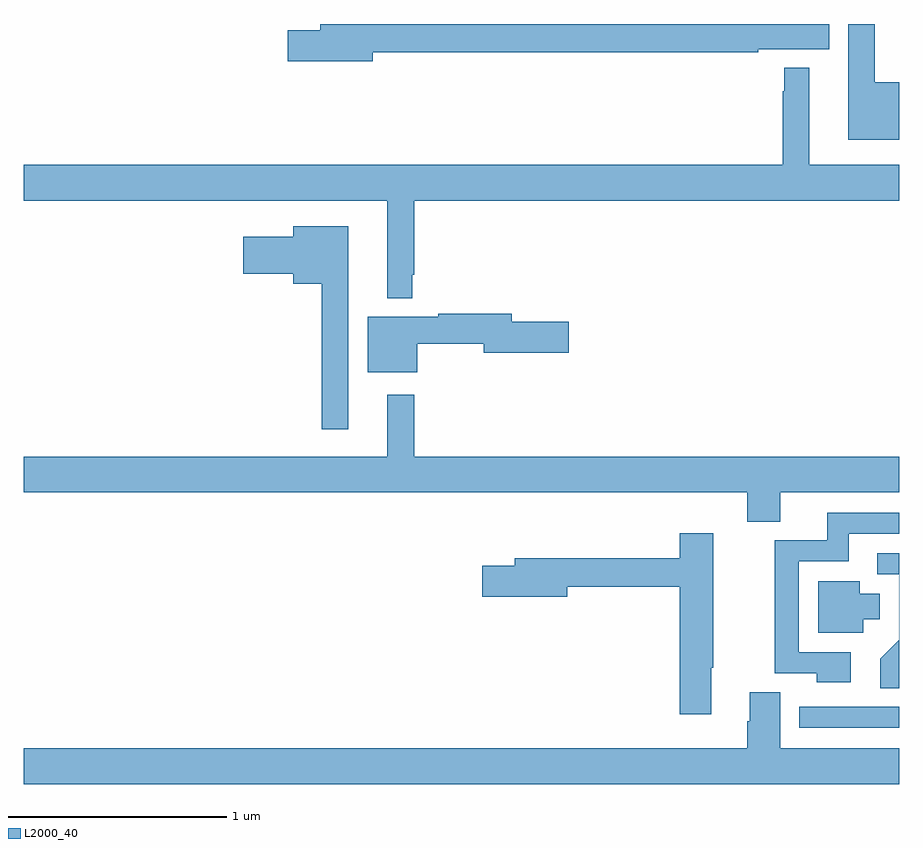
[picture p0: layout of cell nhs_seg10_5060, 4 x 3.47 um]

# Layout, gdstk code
import gdstk
lib = gdstk.Library(unit=1e-6, precision=1e-09)
def R(c, l, rs):  # rectangles x0, y0, x1, y1
    for r in rs: c.add(gdstk.rectangle(r[:2], r[2:], *l))
def P(c, l, *ps):  # polygons
    for p in ps: c.add(gdstk.Polygon(p, *l))
L2000_40 = (2000, 40)

nhs_seg10_5060 = lib.new_cell('nhs_seg10_5060')
R(nhs_seg10_5060, L2000_40, [(408.542,1255.284,409,1255.38)])
P(nhs_seg10_5060, L2000_40, [(409,1258.234),(408.889,1258.234),(408.889,1258.5),(408.767,1258.5),(408.767,1257.971),(409,1257.971)],
  [(406.594,1258.372),(408.356,1258.372),(408.356,1258.385),(408.679,1258.385),(408.679,1258.5),(406.355,1258.5),(406.355,1258.472),(406.206,1258.472),(406.206,1258.33),(406.594,1258.33)],
  [(406.776,1257.355),(406.783,1257.355),(406.783,1257.692),(409,1257.692),(409,1257.856),(408.589,1257.856),(408.589,1258.3),(408.474,1258.3),(408.474,1258.193),(408.468,1258.193),(408.468,1257.856),(405,1257.856),(405,1257.692),(406.661,1257.692),(406.661,1257.248),(406.776,1257.248)],
  [(406.483,1257.577),(406.232,1257.577),(406.232,1257.529),(406.002,1257.529),(406.002,1257.359),(406.232,1257.359),(406.232,1257.314),(406.362,1257.314),(406.362,1256.649),(406.483,1256.649)],
  [(406.798,1257.04),(407.102,1257.04),(407.102,1256.998),(407.491,1256.998),(407.491,1257.14),(407.23,1257.14),(407.23,1257.176),(406.894,1257.176),(406.894,1257.163),(406.571,1257.163),(406.571,1256.909),(406.798,1256.909)],
  [(408.457,1256.36),(409,1256.36),(409,1256.524),(406.783,1256.524),(406.783,1256.806),(406.661,1256.806),(406.661,1256.524),(405,1256.524),(405,1256.36),(408.305,1256.36),(408.305,1256.227),(408.457,1256.227)],
  [(408.778,1255.629),(408.54,1255.629),(408.54,1256.046),(408.769,1256.046),(408.769,1256.172),(409,1256.172),(409,1256.268),(408.671,1256.268),(408.671,1256.142),(408.432,1256.142),(408.432,1255.533),(408.622,1255.533),(408.622,1255.493),(408.778,1255.493)],
  [(408.142,1255.559),(408.15,1255.559),(408.15,1256.173),(407.996,1256.173),(407.996,1256.059),(407.243,1256.059),(407.243,1256.025),(407.094,1256.025),(407.094,1255.883),(407.482,1255.883),(407.482,1255.93),(407.996,1255.93),(407.996,1255.347),(408.142,1255.347)],
  [(409,1256.082),(408.9,1256.082),(408.9,1255.986),(408.999,1255.986),(408.999,1255.687),(408.913,1255.601),(408.913,1255.465),(409,1255.465)],
  [(408.835,1255.781),(408.91,1255.781),(408.91,1255.897),(408.82,1255.897),(408.82,1255.954),(408.629,1255.954),(408.629,1255.718),(408.835,1255.718)],
  [(409,1255.192),(408.457,1255.192),(408.457,1255.448),(408.317,1255.448),(408.317,1255.314),(408.305,1255.314),(408.305,1255.192),(405,1255.192),(405,1255.028),(409,1255.028)])

lib.write_gds('nhs_seg10_5060.gds')
